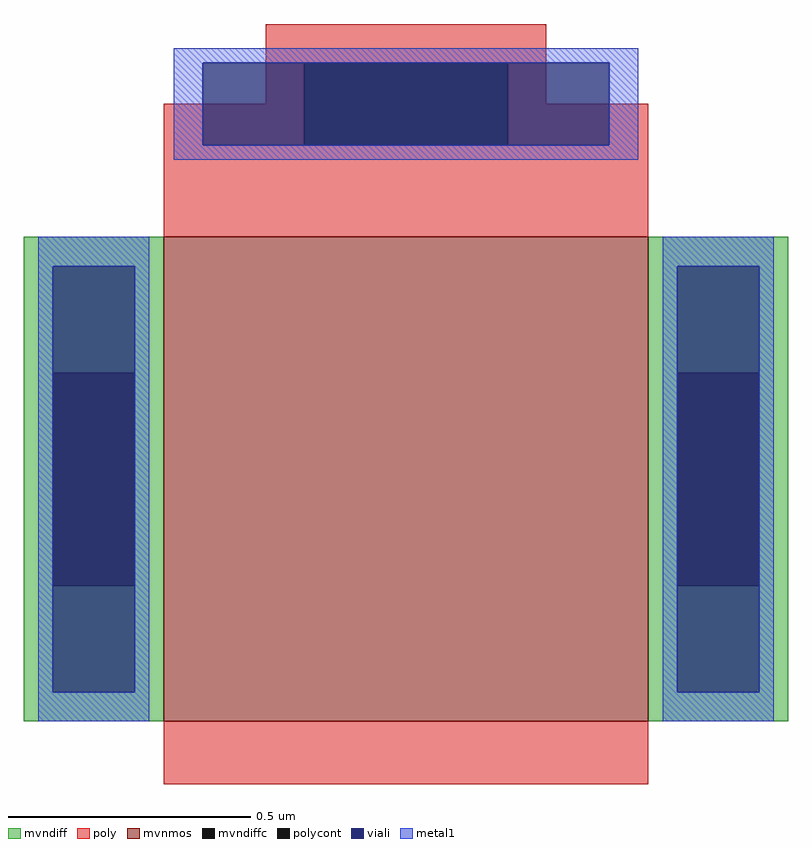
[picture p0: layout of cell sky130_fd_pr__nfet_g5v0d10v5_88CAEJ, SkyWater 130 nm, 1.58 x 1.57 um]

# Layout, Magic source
magic
tech sky130A
magscale 1 2
<< mvnmos >>
rect -100 -131 100 69
<< mvndiff >>
rect -158 13 -100 69
rect -158 -75 -146 13
rect -112 -75 -100 13
rect -158 -131 -100 -75
rect 100 13 158 69
rect 100 -75 112 13
rect 146 -75 158 13
rect 100 -131 158 -75
<< mvndiffc >>
rect -146 -75 -112 13
rect 112 -75 146 13
<< poly >>
rect -58 141 58 157
rect -58 124 -42 141
rect -100 107 -42 124
rect 42 124 58 141
rect 42 107 100 124
rect -100 69 100 107
rect -100 -157 100 -131
<< polycont >>
rect -42 107 42 141
<< viali >>
rect -84 107 -42 141
rect -42 107 42 141
rect 42 107 84 141
rect -146 13 -112 57
rect -146 -75 -112 13
rect -146 -119 -112 -75
rect 112 13 146 57
rect 112 -75 146 13
rect 112 -119 146 -75
<< metal1 >>
rect -96 141 96 147
rect -96 107 -84 141
rect 84 107 96 141
rect -96 101 96 107
rect -152 57 -106 69
rect -152 -119 -146 57
rect -112 -119 -106 57
rect -152 -131 -106 -119
rect 106 57 152 69
rect 106 -119 112 57
rect 146 -119 152 57
rect 106 -131 152 -119
<< properties >>
string gencell sky130_fd_pr__nfet_g5v0d10v5
string library sky130
string parameters w 1 l 1 m 1 nf 1 diffcov 50 polycov 50 guard 0 glc 1 grc 1 gtc 1 gbc 1 tbcov 100 rlcov 100 topc 1 botc 0 poverlap 0 doverlap 1 lmin 0.50 wmin 0.42 compatible {sky130_fd_pr__nfet_01v8 sky130_fd_pr__nfet_01v8_lvt  sky130_fd_bs_flash__special_sonosfet_star  sky130_fd_pr__nfet_g5v0d10v5 sky130_fd_pr__nfet_05v0_nvt  sky130_fd_pr__nfet_03v3_nvt} full_metal 1 viasrc 100 viadrn 100 viagate 100 viagb 0 viagr 0 viagl 0 viagt 0
<< end >>
